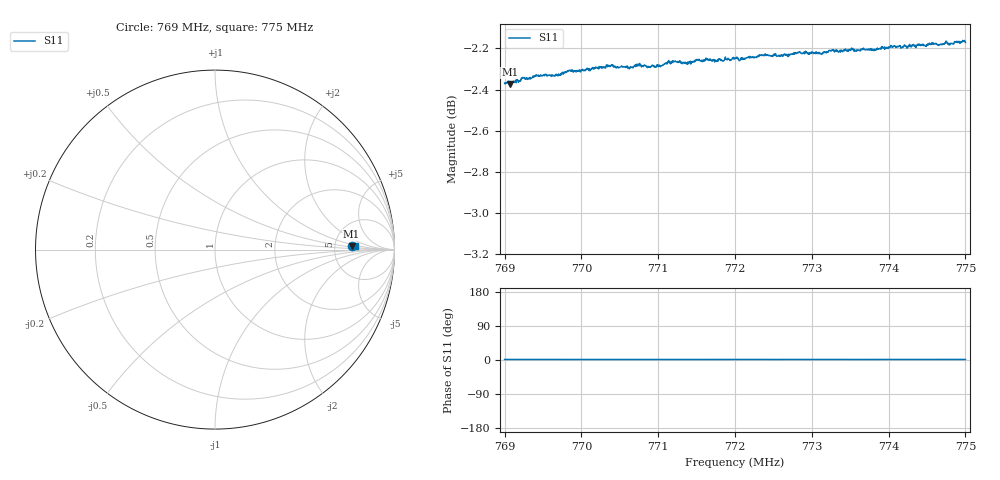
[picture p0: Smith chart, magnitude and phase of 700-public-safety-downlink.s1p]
! Calibrated averaged scanner-service zoom
# Hz S RI R 50
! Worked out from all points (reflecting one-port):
!   1001 points, 769 MHz to 775 MHz, reference 50 ohm
!   lowest |S11| = -2.4 dB at 769.066 MHz (marker M1), VSWR 7.36, Z = 365 + j32 ohm
!   phase of S11 starts at 1 deg and turns +0 deg over the sweep
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7.69e8  0.7611 0.0185
7.69066e8  0.7605 0.0184
7.69312e8  0.763 0.0172
7.6942e8  0.7642 0.0178
7.6975e8  0.7652 0.0179
7.69858e8  0.7663 0.018
7.70374e8  0.7682 0.0177
7.705e8  0.7679 0.0177
7.70644e8  0.7678 0.0184
7.7074e8  0.7692 0.0181
7.7098e8  0.7688 0.0186
7.7125e8  0.77 0.0182
7.7137e8  0.7699 0.0178
7.71514e8  0.7712 0.0179
7.72e8  0.7716 0.0189
7.7221e8  0.772 0.0194
7.72366e8  0.7731 0.0187
7.72564e8  0.7728 0.0179
7.7275e8  0.7736 0.0187
7.73116e8  0.7739 0.0185
7.73248e8  0.7748 0.0184
7.735e8  0.7756 0.0182
7.73806e8  0.7751 0.0192
7.7425e8  0.777 0.0183
7.74514e8  0.7775 0.0187
7.7458e8  0.7777 0.0201
7.74832e8  0.7781 0.0186
7.75e8  0.7785 0.02
